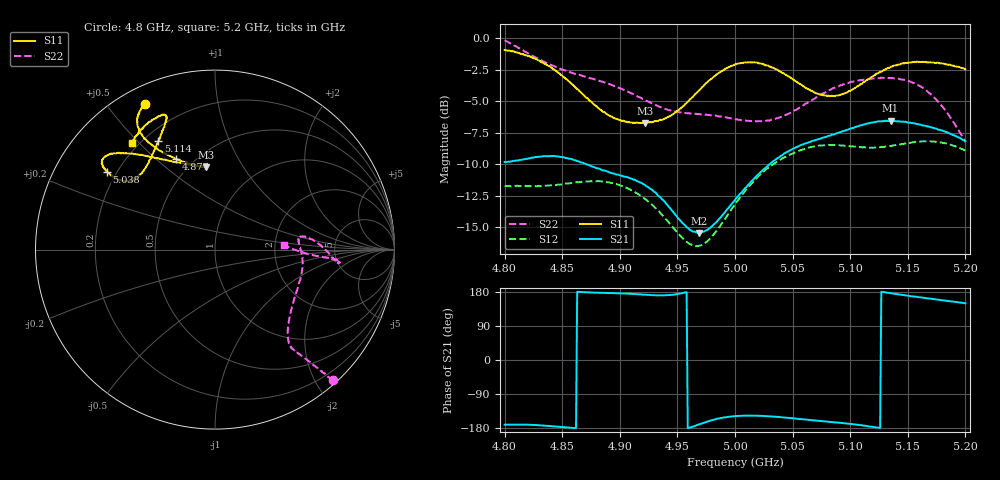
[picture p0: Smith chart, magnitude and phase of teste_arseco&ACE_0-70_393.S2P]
! Network Analyzer HP8722D
! Hewlett-Packard
! Data name: Linha & Wilkinson
! Saver's name: Rodrigo Anjos
! Comments: Teste da utilização de aquisição
! continua pelo VNA HP8722D
! Time and date: 8/5/2025 16:02
!  Frequency  S11  S21  S12  S22
# HZ  S  MA R 50
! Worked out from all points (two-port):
!   401 points, 4.8 GHz to 5.2 GHz, reference 50 ohm
!   highest |S21| = -6.53 dB at 5.135 GHz (marker M1); lowest = -15.5 dB at 4.969 GHz (marker M2)
!   |S21| within 3 dB of the highest: 4.822 GHz to 4.855 GHz (32.5 MHz wide, 0.672 % of centre); 5.037 GHz to end of sweep
!   lowest |S11| = -6.7 dB at 4.922 GHz (marker M3), VSWR 2.71, Z = 30 + j34.9 ohm
!   |S11| at or under -10 dB: nowhere
!   |S22| runs from -8.3 to -0.2 dB; largest |S21 - S12| = 0.83
!   S11 on the Smith chart (normalised r, x): 4.8 GHz: 0.07, +0.63; 4.877 GHz: 0.40, +0.58; 5.038 GHz: 0.16, +0.31; 5.114 GHz: 0.26, +0.58; 5.2 GHz: 0.17, +0.48
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4.8e9  0.8999 115.8  0.3225 -170.8  0.2588 -86.2  0.9815 -48.0
4.821e9  0.8507 120.6  0.3336 -170.9  0.259 -81.5  0.8687 -49.1
4.838e9  0.7771 122.5  0.3402 -174.0  0.2596 -75.7  0.7925 -50.3
4.867e9  0.6053 117.6  0.3208 179.0  0.2688 -67.8  0.7118 -51.9
4.877e9  0.5488 113.0  0.3084 177.8  0.2706 -66.8  0.6903 -52.1
4.901e9  0.4717 100.3  0.2848 175.8  0.2595 -67.5  0.6314 -50.1
4.922e9  0.4612 96.3  0.261 172.6  0.2295 -69.7  0.5684 -43.3
4.934e9  0.4723 99.9  0.2352 170.6  0.2054 -70.0  0.5355 -36.9
4.957e9  0.5502 116.4  0.1799 178.5  0.1565 -59.8  0.5049 -21.8
4.969e9  0.6218 124.4  0.1683 -169.7  0.1498 -46.4  0.5 -14.8
4.981e9  0.7003 130.4  0.1808 -157.9  0.1651 -33.1  0.4933 -8.6
5e9  0.7888 137.3  0.2274 -148.3  0.2189 -21.7  0.4772 -0.3
5.018e9  0.802 141.7  0.2811 -146.9  0.2762 -18.8  0.4689 5.9
5.038e9  0.7441 144.3  0.3363 -150.3  0.3268 -19.2  0.4836 8.5
5.067e9  0.6186 142.0  0.3911 -158.9  0.3707 -21.5  0.5693 4.0
5.088e9  0.5929 132.8  0.4192 -164.8  0.3756 -24.6  0.6409 -2.6
5.114e9  0.6807 117.7  0.4574 -174.1  0.3681 -27.4  0.6879 -6.2
5.134e9  0.764 110.9  0.4691 176.9  0.3722 -29.6  0.6961 -5.6
5.135e9  0.7698 110.9  0.4714 176.4  0.3735 -29.7  0.6963 -5.5
5.162e9  0.8055 112.8  0.4517 164.9  0.3895 -36.4  0.6404 -4.4
5.18e9  0.7949 118.9  0.4301 157.8  0.3849 -42.1  0.5357 -3.0
5.2e9  0.7531 127.7  0.3902 149.7  0.3583 -47.5  0.3868 3.5
